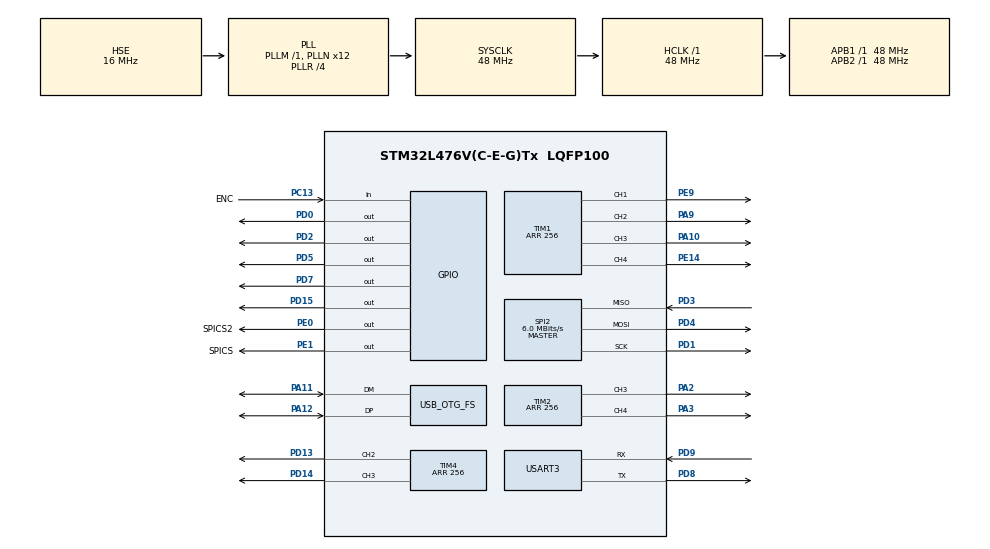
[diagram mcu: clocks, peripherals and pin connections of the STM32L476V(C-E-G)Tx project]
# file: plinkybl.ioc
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Mcu.Family=STM32L4
Mcu.Name=STM32L476V(C-E-G)Tx
Mcu.Package=LQFP100
NVIC.OTG_FS_IRQn=true\:0\:0\:false\:false\:true\:false\:true
NVIC.PriorityGroup=NVIC_PRIORITYGROUP_4
PA10.Signal=S_TIM1_CH3
PA11.Mode=Device_Only
PA11.Signal=USB_OTG_FS_DM
PA12.Mode=Device_Only
PA12.Signal=USB_OTG_FS_DP
PA13\ (JTMS-SWDIO).Mode=Serial_Wire
PA13\ (JTMS-SWDIO).Signal=SYS_JTMS-SWDIO
PA14\ (JTCK-SWCLK).Mode=Serial_Wire
PA14\ (JTCK-SWCLK).Signal=SYS_JTCK-SWCLK
PA2.Signal=S_TIM2_CH3
PA3.Signal=S_TIM2_CH4
PA9.Signal=S_TIM1_CH2
PC13.GPIO_Label=ENC
PC13.GPIO_PuPd=GPIO_PULLUP
PC13.Signal=GPIO_Input
PD0.Signal=GPIO_Output
PD1.Mode=Full_Duplex_Master
PD1.Signal=SPI2_SCK
PD13.Signal=S_TIM4_CH2
PD14.Signal=S_TIM4_CH3
PD15.Signal=GPIO_Output
PD2.Signal=GPIO_Output
PD3.Mode=Full_Duplex_Master
PD3.Signal=SPI2_MISO
PD4.Mode=Full_Duplex_Master
PD4.Signal=SPI2_MOSI
PD5.Signal=GPIO_Output
PD7.Signal=GPIO_Output
PD8.Mode=Asynchronous
PD8.Signal=USART3_TX
PD9.Mode=Asynchronous
PD9.Signal=USART3_RX
PE0.GPIO_Label=SPICS2
PE0.GPIO_Speed=GPIO_SPEED_FREQ_VERY_HIGH
PE0.PinState=GPIO_PIN_SET
PE0.Signal=GPIO_Output
PE1.GPIO_Label=SPICS
PE1.GPIO_Speed=GPIO_SPEED_FREQ_VERY_HIGH
PE1.PinState=GPIO_PIN_SET
PE1.Signal=GPIO_Output
PE14.Signal=S_TIM1_CH4
PE9.Signal=S_TIM1_CH1
PH0-OSC_IN\ (PH0).Mode=HSE-External-Oscillator
PH0-OSC_IN\ (PH0).Signal=RCC_OSC_IN
PH1-OSC_OUT\ (PH1).Mode=HSE-External-Oscillator
PH1-OSC_OUT\ (PH1).Signal=RCC_OSC_OUT
ProjectManager.HeapSize=0x200
ProjectManager.StackSize=0x400
ProjectManager.TargetToolchain=STM32CubeIDE
RCC.ADCFreq_Value=96000000
RCC.AHBFreq_Value=48000000
RCC.APB1Freq_Value=48000000
RCC.APB1TimFreq_Value=48000000
RCC.APB2Freq_Value=48000000
RCC.APB2TimFreq_Value=48000000
RCC.CortexFreq_Value=48000000
RCC.EnbaleCSS=true
RCC.HCLKFreq_Value=48000000
RCC.HSE_VALUE=16000000
RCC.HSI_VALUE=16000000
RCC.LSE_VALUE=32768
RCC.MSI_VALUE=4000000
RCC.PLLN=12
RCC.PLLR=RCC_PLLR_DIV4
RCC.PLLSAI1N=12
RCC.PLLSAI1Q=RCC_PLLQ_DIV4
RCC.PLLSourceVirtual=RCC_PLLSOURCE_HSE
RCC.SYSCLKFreq_VALUE=48000000
RCC.SYSCLKSource=RCC_SYSCLKSOURCE_PLLCLK
RCC.USBFreq_Value=48000000
RCC.VCOOutputFreq_Value=192000000
SH.S_TIM1_CH1.0=TIM1_CH1,PWM Generation1 CH1
SH.S_TIM1_CH2.0=TIM1_CH2,PWM Generation2 CH2
SH.S_TIM1_CH3.0=TIM1_CH3,PWM Generation3 CH3
SH.S_TIM1_CH4.0=TIM1_CH4,PWM Generation4 CH4
SH.S_TIM2_CH3.0=TIM2_CH3,PWM Generation3 CH3
SH.S_TIM2_CH4.0=TIM2_CH4,PWM Generation4 CH4
SH.S_TIM4_CH2.0=TIM4_CH2,PWM Generation2 CH2
SH.S_TIM4_CH3.0=TIM4_CH3,PWM Generation3 CH3
SPI2.BaudRatePrescaler=SPI_BAUDRATEPRESCALER_8
SPI2.CalculateBaudRate=6.0 MBits/s
SPI2.DataSize=SPI_DATASIZE_8BIT
SPI2.Direction=SPI_DIRECTION_2LINES
SPI2.Mode=SPI_MODE_MASTER
SPI2.VirtualType=VM_MASTER
TIM1.Channel-PWM\ Generation1\ CH1=TIM_CHANNEL_1
TIM1.Channel-PWM\ Generation2\ CH2=TIM_CHANNEL_2
TIM1.Channel-PWM\ Generation3\ CH3=TIM_CHANNEL_3
TIM1.Channel-PWM\ Generation4\ CH4=TIM_CHANNEL_4
TIM1.Period=256
TIM2.Channel-PWM\ Generation3\ CH3=TIM_CHANNEL_3
TIM2.Channel-PWM\ Generation4\ CH4=TIM_CHANNEL_4
TIM2.Period=256
TIM4.Channel-PWM\ Generation2\ CH2=TIM_CHANNEL_2
TIM4.Channel-PWM\ Generation3\ CH3=TIM_CHANNEL_3
TIM4.Period=256
USART3.VirtualMode-Asynchronous=VM_ASYNC
USB_DEVICE.CLASS_NAME_FS=MSC
USB_DEVICE.VirtualMode=Msc
USB_DEVICE.VirtualModeFS=Msc_FS
USB_OTG_FS.VirtualMode=Device_Only
VP_TIM1_VS_ClockSourceINT.Mode=Internal
VP_TIM2_VS_ClockSourceINT.Mode=Internal
VP_TIM4_VS_ClockSourceINT.Mode=Internal
VP_USB_DEVICE_VS_USB_DEVICE_MSC_FS.Mode=MSC_FS
board=custom

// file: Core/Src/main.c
/* USER CODE BEGIN Header */
/**
  ******************************************************************************
  * @file           : main.c
  * @brief          : Main program body
  ******************************************************************************
  * @attention
  *
  * <h2><center>&copy; Copyright (c) 2020 STMicroelectronics.
  * All rights reserved.</center></h2>
  *
  * This software component is licensed by ST under BSD 3-Clause license,
  * the "License"; You may not use this file except in compliance with the
  * License. You may obtain a copy of the License at:
  *                        opensource.org/licenses/BSD-3-Clause
  *
  ******************************************************************************
  */
/* USER CODE END Header */
#include "main.h"
#include "usb_device.h"

/* USER CODE BEGIN Includes */
#include <stdint.h>
#include <stdbool.h>

/* USER CODE END Includes */

SPI_HandleTypeDef hspi2;

TIM_HandleTypeDef htim1;
TIM_HandleTypeDef htim2;
TIM_HandleTypeDef htim4;

UART_HandleTypeDef huart3;

void SystemClock_Config(void);
static void MX_GPIO_Init(void);
static void MX_TIM1_Init(void);
static void MX_TIM2_Init(void);
static void MX_TIM4_Init(void);
static void MX_SPI2_Init(void);
static void MX_USART3_UART_Init(void);

/* USER CODE BEGIN 0 */

#define APP_LOAD_ADDRESS 0x08010000
#define BOARD_FLASH_SIZE (1024*512)
void jump_to_app() {
    const uint32_t *app_base = (const uint32_t *)APP_LOAD_ADDRESS;

    /*
     * We refuse to program the first word of the app until the upload is marked
     * complete by the host.  So if it's not 0xffffffff, we should try booting it.
     */
    if (app_base[0] == 0xffffffff) {
        return;
    }

    // first word is stack base - needs to be in RAM region and word-aligned
    if ((app_base[0] & 0xff000003) != 0x20000000) {
        return;
    }

    /*
     * The second word of the app is the entrypoint; it must point within the
     * flash area (or we have a bad flash).
     */
    if (app_base[1] < APP_LOAD_ADDRESS) {
        return;
    }

    if (app_base[1] >= (APP_LOAD_ADDRESS + BOARD_FLASH_SIZE)) {
        return;
    }

    /* just for paranoia's sake */
    HAL_FLASH_Lock();

    typedef void (*pFunction)(void);
    	pFunction JumpToApplication;
    	HAL_RCC_DeInit();
    	HAL_DeInit();
    	SysTick->CTRL = 0;
    	SysTick->LOAD = 0;
    	SysTick->VAL = 0;
    	//__disable_irq();
    	__DSB();
    //	__HAL_SYSCFG_REMAPMEMORY_SYSTEMFLASH();/* Remap is bot visible at once. Execute some unrelated command! */
    //	__DSB();
    	__ISB();
    	//SCB->VTOR = APP_LOAD_ADDRESS ;
    	JumpToApplication = (void (*)(void)) (*((uint32_t*)(APP_LOAD_ADDRESS + 4)));
    	__set_MSP(*(__IO uint32_t*) APP_LOAD_ADDRESS);
    	JumpToApplication();
    	while (1);
}

void jumptoROMbootloader(void) {
#ifndef EMU
	// todo - maybe set a flag in the flash and then use NVIC_SystemReset() which will cause it to jumptobootloader earlier
	// https://community.st.com/s/question/0D50X00009XkeeW/stm32l476rg-jump-to-bootloader-from-software
	typedef void (*pFunction)(void);
	pFunction JumpToApplication;
	HAL_RCC_DeInit();
	HAL_DeInit();
	SysTick->CTRL = 0;
	SysTick->LOAD = 0;
	SysTick->VAL = 0;
	__disable_irq();
	__DSB();
	__HAL_SYSCFG_REMAPMEMORY_SYSTEMFLASH();/* Remap is bot visible at once. Execute some unrelated command! */
	__DSB();
	__ISB();
	JumpToApplication = (void (*)(void)) (*((uint32_t*)(0x1FFF0000 + 4)));
	__set_MSP(*(__IO uint32_t*) 0x1FFF0000);
	JumpToApplication();
#else
	while (1);
#endif
}

#include <stdarg.h>
void DebugLog(const char *fmt, ...) {
#if 1
	static char logging=0;
	if (logging) return;
	logging=1;
#ifndef EMU
	while (huart3.gState != HAL_UART_STATE_READY);
#endif
	char buf[256];
	va_list args;
	va_start(args, fmt);
	int n = vsnprintf(buf, sizeof(buf), fmt, args);
	va_end(args);
#ifdef EMU
	_write(1,buf,n);
#else
	//HAL_UART_Transmit_IT(&huart3, (u8*) buf, n);
	HAL_UART_Transmit(&huart3, (unsigned char*) buf, n, 1000);
#endif
	logging=0;
#endif
}
static unsigned char led_state=0xff;

unsigned char encstate=0;
int encheld=0;
void led_init(void) {
#ifndef EMU
	  HAL_TIM_PWM_Start(&htim1, TIM_CHANNEL_1);
	  HAL_TIM_PWM_Start(&htim1, TIM_CHANNEL_2);
	  HAL_TIM_PWM_Start(&htim1, TIM_CHANNEL_3);
	  HAL_TIM_PWM_Start(&htim1, TIM_CHANNEL_4);
#ifdef NEW_PINOUT
	  HAL_TIM_PWM_Start(&htim4, TIM_CHANNEL_3);
#else
	  HAL_TIM_PWM_Start(&htim2, TIM_CHANNEL_2);
#endif
	  HAL_TIM_PWM_Start(&htim2, TIM_CHANNEL_3);
	  HAL_TIM_PWM_Start(&htim2, TIM_CHANNEL_4);
	  HAL_TIM_PWM_Start(&htim4, TIM_CHANNEL_2);
#endif
	  led_state=0;
}
void ghostfat_1ms(void);
void led_update(void) {
	encstate=(encstate<<1)+(((GPIOC->IDR>>13)&1)^1);
	if (encstate==0xff)
		encheld++;
	else
		encheld=0;
	if (led_state==0xff)
		return;
	ghostfat_1ms();

#define N1 2
#define N2 5
#define N3 7
#ifdef NEW_PINOUT
#define N4 0
#else
#define N4 14
#endif
#define N5 15
	int x=led_state;

#ifndef EMU
	if (x < 8) x ^= 7;
	//////////////////////////////////////
	static int frame;
	frame++;
	unsigned char leds[9];
	int y1 = (x * 512) + 256;
	int dy = (y1 - 2048);
	if (dy<0) dy=-dy;
	for (int xx = 0; xx < 8; ++xx) {
		int x1 = (xx * 512) + 256;
		int dx = (x1 - 2048);
		if (dx<0) dx=-dx;
		int dist = (dx<dy) ? dy:dx;
		dist -= (frame/8)*16;
		int k = -dist / 4;
		k&=511;
		if (k > 255)
			k = 512 - k;
		if (k < 0)
			k = 0;
		leds[xx] = ((k * k) >> 8);
	}
	//////////////////////////////////////
	const static unsigned int nbits[5]={(1<<(N1*2)),(1<<(N2*2)),(1<<(N3*2)),(1<<(N4*2)),(1<<(N5*2))};
	  GPIOD->MODER &= ~((3<<(N1*2))+(3<<(N2*2))+(3<<(N3*2))+(3<<(N4*2))+(3<<(N5*2)));
	  unsigned char xor=0;
	  if (led_state&9) {
	  	  GPIOD->ODR |=  ((1<<N1)+(1<<N2)+(1<<N3)+(1<<N4)+(1<<N5));
	  	  xor=255;
	  } else
		  GPIOD->ODR &= ~((1<<N1)+(1<<N2)+(1<<N3)+(1<<N4)+(1<<N5));
	  __HAL_TIM_SET_COMPARE(&htim1,TIM_CHANNEL_1 , leds[0]^xor);
	  __HAL_TIM_SET_COMPARE(&htim1,TIM_CHANNEL_2 , leds[1]^xor);
	  __HAL_TIM_SET_COMPARE(&htim1,TIM_CHANNEL_3 , leds[2]^xor);
	  __HAL_TIM_SET_COMPARE(&htim1,TIM_CHANNEL_4 , leds[3]^xor);
	  __HAL_TIM_SET_COMPARE(&htim4,TIM_CHANNEL_2 , leds[4]^xor);
#ifdef NEW_PINOUT
	  __HAL_TIM_SET_COMPARE(&htim4,TIM_CHANNEL_3, leds[5]^xor);
#else
	  __HAL_TIM_SET_COMPARE(&htim2, TIM_CHANNEL_2, leds[5] ^ xor);
#endif
	  __HAL_TIM_SET_COMPARE(&htim2,TIM_CHANNEL_3 , leds[6]^xor);
	  __HAL_TIM_SET_COMPARE(&htim2,TIM_CHANNEL_4 , leds[7]^xor);
	  GPIOD->MODER|=nbits[led_state/2];
#else
	const u8* leds = led_ram[x];
	extern u8 emuleds[9][8];
	  for (int i=0;i<8;++i) emuleds[led_state][i]=leds[i];
#endif
	  led_state++;
	  if (led_state==9) led_state=0;

}

void spi_setchip(uint32_t addr);
int spi_readid(void);

/* USER CODE END 0 */

int main(void)
{

  /* MCU Configuration--------------------------------------------------------*/

  /* Reset of all peripherals, Initializes the Flash interface and the Systick. */
  HAL_Init();

  /* Configure the system clock */
  SystemClock_Config();

  /* USER CODE BEGIN SysInit */
  MX_GPIO_Init();

  HAL_Delay(1);
  bool encdown = !((GPIOC->IDR>>13)&1);
  if (!encdown) { // encoder not down
	  jump_to_app();
  }
  // BOOTLOADER FLASHING MODE!!
  memcpy((void*)DELAY_BUF,(void*)0x08000000,65536); // copy bootloader into RAM!:)

  /* USER CODE END SysInit */

  /* Initialize all configured peripherals */
  MX_GPIO_Init();
  MX_USB_DEVICE_Init();
  MX_TIM1_Init();
  MX_TIM2_Init();
  MX_TIM4_Init();
  MX_SPI2_Init();
  MX_USART3_UART_Init();
  /* USER CODE BEGIN 2 */
  led_init();
  /* USER CODE END 2 */

  /* Infinite loop */
  /* USER CODE BEGIN WHILE */
/*  HAL_Delay(10);
  spi_setchip(0xffffffff);
  DebugLog("spi chip 1 = %d\r\n", spi_readid());
  spi_setchip(0);
  DebugLog("spi chip 0 = %d\r\n", spi_readid());
*/
  bool startreset=false;
  while (1)
  {
    /* USER CODE END WHILE */

    /* USER CODE BEGIN 3 */
	  if (encstate==1)
		  startreset=true;
	 if (encstate==0x0 && startreset) {
		 // released the encoder
		HAL_Delay(100);
		 scb_reset_system();
	 }
	 if (encheld>10000)
		 jumptoROMbootloader();
  }
  /* USER CODE END 3 */
}

void SystemClock_Config(void)
{
  RCC_OscInitTypeDef RCC_OscInitStruct = {0};
  RCC_ClkInitTypeDef RCC_ClkInitStruct = {0};
  RCC_PeriphCLKInitTypeDef PeriphClkInit = {0};

  /** Initializes the RCC Oscillators according to the specified parameters
  * in the RCC_OscInitTypeDef structure.
  */
  RCC_OscInitStruct.OscillatorType = RCC_OSCILLATORTYPE_HSE;
  RCC_OscInitStruct.HSEState = RCC_HSE_ON;
  RCC_OscInitStruct.PLL.PLLState = RCC_PLL_ON;
  RCC_OscInitStruct.PLL.PLLSource = RCC_PLLSOURCE_HSE;
  RCC_OscInitStruct.PLL.PLLM = 1;
  RCC_OscInitStruct.PLL.PLLN = 12;
  RCC_OscInitStruct.PLL.PLLP = RCC_PLLP_DIV7;
  RCC_OscInitStruct.PLL.PLLQ = RCC_PLLQ_DIV2;
  RCC_OscInitStruct.PLL.PLLR = RCC_PLLR_DIV4;
  if (HAL_RCC_OscConfig(&RCC_OscInitStruct) != HAL_OK)
  {
    Error_Handler();
  }
  /** Initializes the CPU, AHB and APB buses clocks
  */
  RCC_ClkInitStruct.ClockType = RCC_CLOCKTYPE_HCLK|RCC_CLOCKTYPE_SYSCLK
                              |RCC_CLOCKTYPE_PCLK1|RCC_CLOCKTYPE_PCLK2;
  RCC_ClkInitStruct.SYSCLKSource = RCC_SYSCLKSOURCE_PLLCLK;
  RCC_ClkInitStruct.AHBCLKDivider = RCC_SYSCLK_DIV1;
  RCC_ClkInitStruct.APB1CLKDivider = RCC_HCLK_DIV1;
  RCC_ClkInitStruct.APB2CLKDivider = RCC_HCLK_DIV1;

  if (HAL_RCC_ClockConfig(&RCC_ClkInitStruct, FLASH_LATENCY_2) != HAL_OK)
  {
    Error_Handler();
  }
  PeriphClkInit.PeriphClockSelection = RCC_PERIPHCLK_USART3|RCC_PERIPHCLK_USB;
  PeriphClkInit.Usart3ClockSelection = RCC_USART3CLKSOURCE_PCLK1;
  PeriphClkInit.UsbClockSelection = RCC_USBCLKSOURCE_PLLSAI1;
  PeriphClkInit.PLLSAI1.PLLSAI1Source = RCC_PLLSOURCE_HSE;
  PeriphClkInit.PLLSAI1.PLLSAI1M = 1;
  PeriphClkInit.PLLSAI1.PLLSAI1N = 12;
  PeriphClkInit.PLLSAI1.PLLSAI1P = RCC_PLLP_DIV7;
  PeriphClkInit.PLLSAI1.PLLSAI1Q = RCC_PLLQ_DIV4;
  PeriphClkInit.PLLSAI1.PLLSAI1R = RCC_PLLR_DIV2;
  PeriphClkInit.PLLSAI1.PLLSAI1ClockOut = RCC_PLLSAI1_48M2CLK;
  if (HAL_RCCEx_PeriphCLKConfig(&PeriphClkInit) != HAL_OK)
  {
    Error_Handler();
  }
  /** Enables the Clock Security System
  */
  HAL_RCC_EnableCSS();
  /** Configure the main internal regulator output voltage
  */
  if (HAL_PWREx_ControlVoltageScaling(PWR_REGULATOR_VOLTAGE_SCALE1) != HAL_OK)
  {
    Error_Handler();
  }
}

static void MX_SPI2_Init(void)
{

  /* SPI2 parameter configuration*/
  hspi2.Instance = SPI2;
  hspi2.Init.Mode = SPI_MODE_MASTER;
  hspi2.Init.Direction = SPI_DIRECTION_2LINES;
  hspi2.Init.DataSize = SPI_DATASIZE_8BIT;
  hspi2.Init.CLKPolarity = SPI_POLARITY_LOW;
  hspi2.Init.CLKPhase = SPI_PHASE_1EDGE;
  hspi2.Init.NSS = SPI_NSS_SOFT;
  hspi2.Init.BaudRatePrescaler = SPI_BAUDRATEPRESCALER_8;
  hspi2.Init.FirstBit = SPI_FIRSTBIT_MSB;
  hspi2.Init.TIMode = SPI_TIMODE_DISABLE;
  hspi2.Init.CRCCalculation = SPI_CRCCALCULATION_DISABLE;
  hspi2.Init.CRCPolynomial = 7;
  hspi2.Init.CRCLength = SPI_CRC_LENGTH_DATASIZE;
  hspi2.Init.NSSPMode = SPI_NSS_PULSE_ENABLE;
  if (HAL_SPI_Init(&hspi2) != HAL_OK)
  {
    Error_Handler();
  }

}

static void MX_TIM1_Init(void)
{

  TIM_ClockConfigTypeDef sClockSourceConfig = {0};
  TIM_MasterConfigTypeDef sMasterConfig = {0};
  TIM_OC_InitTypeDef sConfigOC = {0};
  TIM_BreakDeadTimeConfigTypeDef sBreakDeadTimeConfig = {0};

  htim1.Instance = TIM1;
  htim1.Init.Prescaler = 0;
  htim1.Init.CounterMode = TIM_COUNTERMODE_UP;
  htim1.Init.Period = 256;
  htim1.Init.ClockDivision = TIM_CLOCKDIVISION_DIV1;
  htim1.Init.RepetitionCounter = 0;
  htim1.Init.AutoReloadPreload = TIM_AUTORELOAD_PRELOAD_DISABLE;
  if (HAL_TIM_Base_Init(&htim1) != HAL_OK)
  {
    Error_Handler();
  }
  sClockSourceConfig.ClockSource = TIM_CLOCKSOURCE_INTERNAL;
  if (HAL_TIM_ConfigClockSource(&htim1, &sClockSourceConfig) != HAL_OK)
  {
    Error_Handler();
  }
  if (HAL_TIM_PWM_Init(&htim1) != HAL_OK)
  {
    Error_Handler();
  }
  sMasterConfig.MasterOutputTrigger = TIM_TRGO_RESET;
  sMasterConfig.MasterOutputTrigger2 = TIM_TRGO2_RESET;
  sMasterConfig.MasterSlaveMode = TIM_MASTERSLAVEMODE_DISABLE;
  if (HAL_TIMEx_MasterConfigSynchronization(&htim1, &sMasterConfig) != HAL_OK)
  {
    Error_Handler();
  }
  sConfigOC.OCMode = TIM_OCMODE_PWM1;
  sConfigOC.Pulse = 0;
  sConfigOC.OCPolarity = TIM_OCPOLARITY_HIGH;
  sConfigOC.OCNPolarity = TIM_OCNPOLARITY_HIGH;
  sConfigOC.OCFastMode = TIM_OCFAST_DISABLE;
  sConfigOC.OCIdleState = TIM_OCIDLESTATE_RESET;
  sConfigOC.OCNIdleState = TIM_OCNIDLESTATE_RESET;
  if (HAL_TIM_PWM_ConfigChannel(&htim1, &sConfigOC, TIM_CHANNEL_1) != HAL_OK)
  {
    Error_Handler();
  }
  if (HAL_TIM_PWM_ConfigChannel(&htim1, &sConfigOC, TIM_CHANNEL_2) != HAL_OK)
  {
    Error_Handler();
  }
  if (HAL_TIM_PWM_ConfigChannel(&htim1, &sConfigOC, TIM_CHANNEL_3) != HAL_OK)
  {
    Error_Handler();
  }
  if (HAL_TIM_PWM_ConfigChannel(&htim1, &sConfigOC, TIM_CHANNEL_4) != HAL_OK)
  {
    Error_Handler();
  }
  sBreakDeadTimeConfig.OffStateRunMode = TIM_OSSR_DISABLE;
  sBreakDeadTimeConfig.OffStateIDLEMode = TIM_OSSI_DISABLE;
  sBreakDeadTimeConfig.LockLevel = TIM_LOCKLEVEL_OFF;
  sBreakDeadTimeConfig.DeadTime = 0;
  sBreakDeadTimeConfig.BreakState = TIM_BREAK_DISABLE;
  sBreakDeadTimeConfig.BreakPolarity = TIM_BREAKPOLARITY_HIGH;
  sBreakDeadTimeConfig.BreakFilter = 0;
  sBreakDeadTimeConfig.Break2State = TIM_BREAK2_DISABLE;
  sBreakDeadTimeConfig.Break2Polarity = TIM_BREAK2POLARITY_HIGH;
  sBreakDeadTimeConfig.Break2Filter = 0;
  sBreakDeadTimeConfig.AutomaticOutput = TIM_AUTOMATICOUTPUT_DISABLE;
  if (HAL_TIMEx_ConfigBreakDeadTime(&htim1, &sBreakDeadTimeConfig) != HAL_OK)
  {
    Error_Handler();
  }
  HAL_TIM_MspPostInit(&htim1);

}

static void MX_TIM2_Init(void)
{

  TIM_ClockConfigTypeDef sClockSourceConfig = {0};
  TIM_MasterConfigTypeDef sMasterConfig = {0};
  TIM_OC_InitTypeDef sConfigOC = {0};

  htim2.Instance = TIM2;
  htim2.Init.Prescaler = 0;
  htim2.Init.CounterMode = TIM_COUNTERMODE_UP;
  htim2.Init.Period = 256;
  htim2.Init.ClockDivision = TIM_CLOCKDIVISION_DIV1;
  htim2.Init.AutoReloadPreload = TIM_AUTORELOAD_PRELOAD_DISABLE;
  if (HAL_TIM_Base_Init(&htim2) != HAL_OK)
  {
    Error_Handler();
  }
  sClockSourceConfig.ClockSource = TIM_CLOCKSOURCE_INTERNAL;
  if (HAL_TIM_ConfigClockSource(&htim2, &sClockSourceConfig) != HAL_OK)
  {
    Error_Handler();
  }
  if (HAL_TIM_PWM_Init(&htim2) != HAL_OK)
  {
    Error_Handler();
  }
  sMasterConfig.MasterOutputTrigger = TIM_TRGO_RESET;
  sMasterConfig.MasterSlaveMode = TIM_MASTERSLAVEMODE_DISABLE;
  if (HAL_TIMEx_MasterConfigSynchronization(&htim2, &sMasterConfig) != HAL_OK)
  {
    Error_Handler();
  }
  sConfigOC.OCMode = TIM_OCMODE_PWM1;
  sConfigOC.Pulse = 0;
  sConfigOC.OCPolarity = TIM_OCPOLARITY_HIGH;
  sConfigOC.OCFastMode = TIM_OCFAST_DISABLE;
  if (HAL_TIM_PWM_ConfigChannel(&htim2, &sConfigOC, TIM_CHANNEL_3) != HAL_OK)
  {
    Error_Handler();
  }
  if (HAL_TIM_PWM_ConfigChannel(&htim2, &sConfigOC, TIM_CHANNEL_4) != HAL_OK)
  {
    Error_Handler();
  }
  HAL_TIM_MspPostInit(&htim2);

}

static void MX_TIM4_Init(void)
{

  TIM_ClockConfigTypeDef sClockSourceConfig = {0};
  TIM_MasterConfigTypeDef sMasterConfig = {0};
  TIM_OC_InitTypeDef sConfigOC = {0};

  htim4.Instance = TIM4;
  htim4.Init.Prescaler = 0;
  htim4.Init.CounterMode = TIM_COUNTERMODE_UP;
  htim4.Init.Period = 256;
  htim4.Init.ClockDivision = TIM_CLOCKDIVISION_DIV1;
  htim4.Init.AutoReloadPreload = TIM_AUTORELOAD_PRELOAD_DISABLE;
  if (HAL_TIM_Base_Init(&htim4) != HAL_OK)
  {
    Error_Handler();
  }
  sClockSourceConfig.ClockSource = TIM_CLOCKSOURCE_INTERNAL;
  if (HAL_TIM_ConfigClockSource(&htim4, &sClockSourceConfig) != HAL_OK)
  {
    Error_Handler();
  }
  if (HAL_TIM_PWM_Init(&htim4) != HAL_OK)
  {
    Error_Handler();
  }
  sMasterConfig.MasterOutputTrigger = TIM_TRGO_RESET;
  sMasterConfig.MasterSlaveMode = TIM_MASTERSLAVEMODE_DISABLE;
  if (HAL_TIMEx_MasterConfigSynchronization(&htim4, &sMasterConfig) != HAL_OK)
  {
    Error_Handler();
  }
  sConfigOC.OCMode = TIM_OCMODE_PWM1;
  sConfigOC.Pulse = 0;
  sConfigOC.OCPolarity = TIM_OCPOLARITY_HIGH;
  sConfigOC.OCFastMode = TIM_OCFAST_DISABLE;
  if (HAL_TIM_PWM_ConfigChannel(&htim4, &sConfigOC, TIM_CHANNEL_2) != HAL_OK)
  {
    Error_Handler();
  }
  if (HAL_TIM_PWM_ConfigChannel(&htim4, &sConfigOC, TIM_CHANNEL_3) != HAL_OK)
  {
    Error_Handler();
  }
  HAL_TIM_MspPostInit(&htim4);

}

static void MX_USART3_UART_Init(void)
{

  huart3.Instance = USART3;
  huart3.Init.BaudRate = 115200;
  huart3.Init.WordLength = UART_WORDLENGTH_8B;
  huart3.Init.StopBits = UART_STOPBITS_1;
  huart3.Init.Parity = UART_PARITY_NONE;
  huart3.Init.Mode = UART_MODE_TX_RX;
  huart3.Init.HwFlowCtl = UART_HWCONTROL_NONE;
  huart3.Init.OverSampling = UART_OVERSAMPLING_16;
  huart3.Init.OneBitSampling = UART_ONE_BIT_SAMPLE_DISABLE;
  huart3.AdvancedInit.AdvFeatureInit = UART_ADVFEATURE_NO_INIT;
  if (HAL_UART_Init(&huart3) != HAL_OK)
  {
    Error_Handler();
  }

}

static void MX_GPIO_Init(void)
{
  GPIO_InitTypeDef GPIO_InitStruct = {0};

  /* GPIO Ports Clock Enable */
  __HAL_RCC_GPIOC_CLK_ENABLE();
  __HAL_RCC_GPIOH_CLK_ENABLE();
  __HAL_RCC_GPIOA_CLK_ENABLE();
  __HAL_RCC_GPIOE_CLK_ENABLE();
  __HAL_RCC_GPIOD_CLK_ENABLE();

  /*Configure GPIO pin Output Level */
  HAL_GPIO_WritePin(GPIOD, GPIO_PIN_15|GPIO_PIN_0|GPIO_PIN_2|GPIO_PIN_5
                          |GPIO_PIN_7, GPIO_PIN_RESET);

  /*Configure GPIO pin Output Level */
  HAL_GPIO_WritePin(GPIOE, SPICS2_Pin|SPICS_Pin, GPIO_PIN_SET);

  /*Configure GPIO pin : ENC_Pin */
  GPIO_InitStruct.Pin = ENC_Pin;
  GPIO_InitStruct.Mode = GPIO_MODE_INPUT;
  GPIO_InitStruct.Pull = GPIO_PULLUP;
  HAL_GPIO_Init(ENC_GPIO_Port, &GPIO_InitStruct);

  /*Configure GPIO pins : PD15 PD0 PD2 PD5
                           PD7 */
  GPIO_InitStruct.Pin = GPIO_PIN_15|GPIO_PIN_0|GPIO_PIN_2|GPIO_PIN_5
                          |GPIO_PIN_7;
  GPIO_InitStruct.Mode = GPIO_MODE_OUTPUT_PP;
  GPIO_InitStruct.Pull = GPIO_NOPULL;
  GPIO_InitStruct.Speed = GPIO_SPEED_FREQ_LOW;
  HAL_GPIO_Init(GPIOD, &GPIO_InitStruct);

  /*Configure GPIO pins : SPICS2_Pin SPICS_Pin */
  GPIO_InitStruct.Pin = SPICS2_Pin|SPICS_Pin;
  GPIO_InitStruct.Mode = GPIO_MODE_OUTPUT_PP;
  GPIO_InitStruct.Pull = GPIO_NOPULL;
  GPIO_InitStruct.Speed = GPIO_SPEED_FREQ_VERY_HIGH;
  HAL_GPIO_Init(GPIOE, &GPIO_InitStruct);

}

void Error_Handler(void)
{
}

/************************ (C) COPYRIGHT STMicroelectronics *****END OF FILE****/
